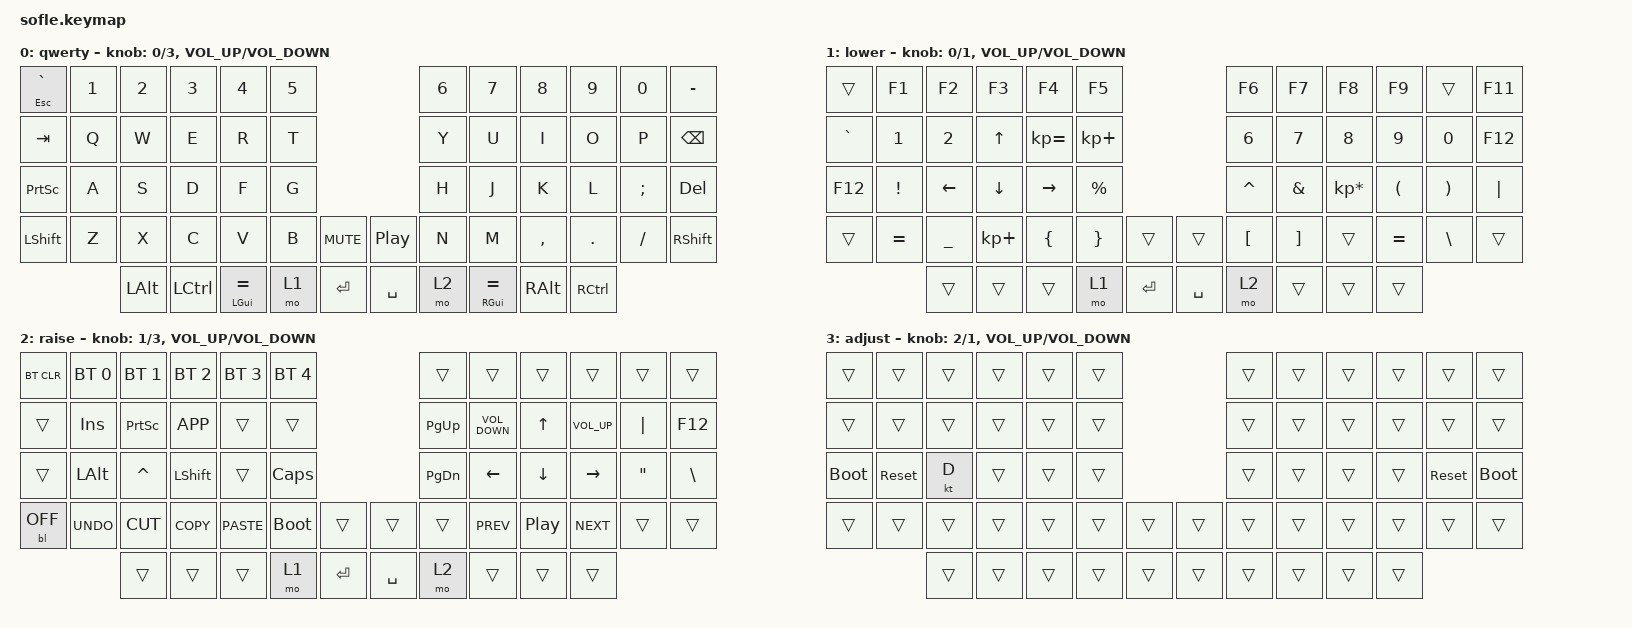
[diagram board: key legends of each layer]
/*
 * Copyright (c) 2020 The ZMK Contributors
 *
 * SPDX-License-Identifier: MIT
 */

#define BASE 0
#define LOWER 1
#define RAISE 2

#include <behaviors.dtsi>
#include <dt-bindings/zmk/backlight.h>
#include <dt-bindings/zmk/bt.h>
#include <dt-bindings/zmk/ext_power.h>
#include <dt-bindings/zmk/keys.h>

// nice!view display fix

&nice_view_spi { cs-gpios = <&pro_micro 0 GPIO_ACTIVE_HIGH>; };

/ {
    behaviors {
        layer_rotate: layer_rotate {
            compatible = "zmk,behavior-sensor-rotate-var";
            label = "LAYER_ROTATE";
            #sensor-binding-cells = <2>;
            bindings = <&to>, <&to>;
        };
    };

    combos {
        compatible = "zmk,combos";

        Power_Toggle {
            bindings = <&ext_power EP_TOG>;
            key-positions = <54 55 11>;
        };
    };

    keymap {
        compatible = "zmk,keymap";

        default_layer {
            label = "qwerty";

            // ------------------------------------------------------------------------------------------------------------
            // |  `    |  1  |  2  |  3   |  4   |  5   |                   |  6   |  7    |  8    |  9   |   0   |   \   |
            // |  TAB  |  Q  |  W  |  E   |  R   |  T   |                   |  Y   |  U    |  I    |  O   |   P   | BKSPC |
            // | C/ESC |  A  |  S  |  D   |  F   |  G   |                   |  H   |  J    |  K    |  L   |   ;   |  C/'  |
            // | SHIFT |  Z  |  X  |  C   |  V   |  B   |  MUTE  |  | PLAY  |  N   |  M    |  ,    |  .   |   /   | SHIFT |
            //               | CAPS| ALT  | GUI/-| SPACE|LOWER/[ |  |RAISE/]| ENTER|  GUI/=|  ALT  | CTRL |

            bindings = <
&mt ESCAPE GRAVE  &kp N1  &kp N2        &kp N3     &kp N4          &kp N5                           &kp N6  &kp N7          &kp N8     &kp N9     &kp N0    &kp MINUS
&kp TAB           &kp Q   &kp W         &kp E      &kp R           &kp T                            &kp Y   &kp U           &kp I      &kp O      &kp P     &kp BACKSPACE
&kp PRINTSCREEN   &kp A   &kp S         &kp D      &kp F           &kp G                            &kp H   &kp J           &kp K      &kp L      &kp SEMI  &kp DELETE
&kp LSHFT         &kp Z   &kp X         &kp C      &kp V           &kp B   &kp C_MUTE    &kp C_PP   &kp N   &kp M           &kp COMMA  &kp DOT    &kp FSLH  &kp RSHFT
                          &kp LEFT_ALT  &kp LCTRL  &mt LGUI EQUAL  &mo 1   &kp ENTER     &kp SPACE  &mo 2   &mt RGUI EQUAL  &kp RALT   &kp RCTRL
            >;

            sensor-bindings =
                <&layer_rotate 0 3>,
                <&inc_dec_kp C_VOLUME_UP C_VOLUME_DOWN>;
        };

        lower_layer {
            label = "lower";

            // ------------------------------------------------------------------------------------------------------------
            // |       |  F1 |  F2 |  F3  |  F4  |  F5  |                   |  F6  |  F7   |  F8   |  F9  |  F10  |  F11  |
            // |       |   1 |   2 |   3  |   4  |   5  |                   |   6  |   7   |   8   |   9  |    0  |  F12  |
            // |       |  !  |  @  |  #   |  $   |  %   |                   |  ^   |  &    |  *    |  (   |   )   |       |
            // |       |  -  |  _  |  [   |  {   |  \   |        |  |       |  |   |  }    |  ]    |  =   |   +   |       |
            //               |     |      |      |      |        |  |       |      |       |       |      |

            bindings = <
&trans     &kp F1     &kp F2          &kp F3          &kp F4           &kp F5                               &kp F6            &kp F7    &kp F8           &kp F9     &trans    &kp F11
&kp GRAVE  &kp N1     &kp N2          &kp UP_ARROW    &kp KP_EQUAL     &kp KP_PLUS                          &kp N6            &kp N7    &kp N8           &kp N9     &kp N0    &kp F12
&kp F12    &kp EXCL   &kp LEFT_ARROW  &kp DOWN_ARROW  &kp RIGHT_ARROW  &kp PRCNT                            &kp CARET         &kp AMPS  &kp KP_MULTIPLY  &kp LPAR   &kp RPAR  &kp PIPE
&trans     &kp EQUAL  &kp UNDER       &kp KP_PLUS     &kp LBRC         &kp RBRC     &trans       &trans     &kp LEFT_BRACKET  &kp RBKT  &trans           &kp EQUAL  &kp BSLH  &trans
                      &trans          &trans          &trans           &mo 1        &kp ENTER    &kp SPACE  &mo 2             &trans    &trans           &trans
            >;

            sensor-bindings =
                <&layer_rotate 0 1>,
                <&inc_dec_kp C_VOLUME_UP C_VOLUME_DOWN>;
        };

        raise_layer {
            label = "raise";

            // ------------------------------------------------------------------------------------------------------------
            // |     |  F1  |  F2  |  F3   |  F4   |  F5  |                |  F6  |  F7  |  F8   |  F9  |  F10  |  F11  |
            // |     | BT1  | BT2  |  BT3  |  BT4  |  BT5 |                | PGUP |  END |   ^   | HOME |  INS  |  F12  |
            // |     |      |      |       |       |      |                | PGDN |   <- |   v   | ->   |  DEL  | C/CAPS|
            // |     |BTCLR | HUD  | HUI   |  SAD  |  SAI |      |  |      | SCRL | PRVS | PLAY  | NEXT |  PSCR |       |
            //              |      |       |       |      |      |  |      |      |      |       |      |

            bindings = <
&bt BT_CLR  &bt BT_SEL 0  &bt BT_SEL 1     &bt BT_SEL 2    &bt BT_SEL 3  &bt BT_SEL 4                          &trans         &trans             &trans    &trans           &trans             &trans
&trans      &kp INSERT    &kp PRINTSCREEN  &kp K_APP       &trans        &trans                                &kp PG_UP      &kp C_VOLUME_DOWN  &kp UP    &kp C_VOLUME_UP  &kp PIPE           &kp F12
&trans      &kp LEFT_ALT  &kp CARET        &kp LEFT_SHIFT  &trans        &kp CAPS                              &kp PAGE_DOWN  &kp LEFT           &kp DOWN  &kp RIGHT        &kp DOUBLE_QUOTES  &kp BACKSLASH
&bl BL_OFF  &kp K_UNDO    &kp K_CUT        &kp K_COPY      &kp K_PASTE   &bootloader   &trans       &trans     &trans         &kp C_PREV         &kp C_PP  &kp C_NEXT       &trans             &trans
                          &trans           &trans          &trans        &mo 1         &kp ENTER    &kp SPACE  &mo 2          &trans             &trans    &trans
            >;

            sensor-bindings =
                <&layer_rotate 1 3>,
                <&inc_dec_kp C_VOL_UP C_VOLUME_DOWN>;
        };

        adjust_layer {
            bindings = <
&trans       &trans      &trans  &trans  &trans  &trans                    &trans  &trans  &trans  &trans  &trans      &trans
&trans       &trans      &trans  &trans  &trans  &trans                    &trans  &trans  &trans  &trans  &trans      &trans
&bootloader  &sys_reset  &kt D   &trans  &trans  &trans                    &trans  &trans  &trans  &trans  &sys_reset  &bootloader
&trans       &trans      &trans  &trans  &trans  &trans  &trans    &trans  &trans  &trans  &trans  &trans  &trans      &trans
                         &trans  &trans  &trans  &trans  &trans    &trans  &trans  &trans  &trans  &trans
            >;

            label = "adjust";
            sensor-bindings =
                <&layer_rotate 2 1>,
                <&inc_dec_kp C_VOLUME_UP C_VOLUME_DOWN>;
        };
    };
};
